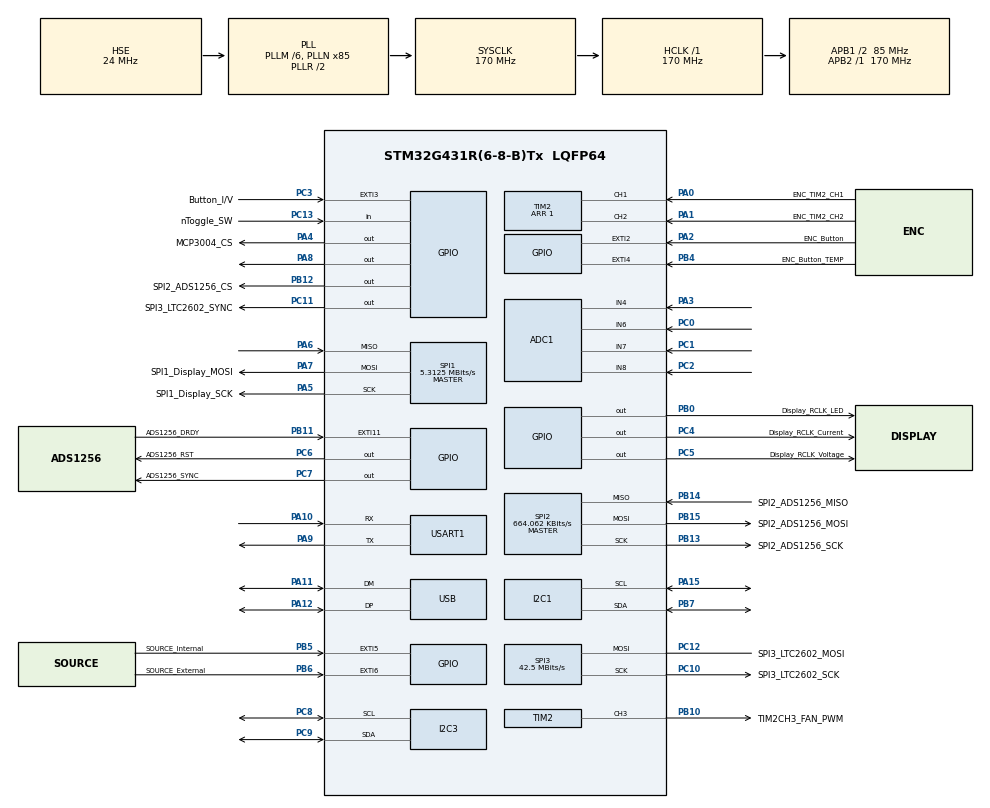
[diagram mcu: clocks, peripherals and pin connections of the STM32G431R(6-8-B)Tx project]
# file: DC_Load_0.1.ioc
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ADC1.Channel-9\#ChannelRegularConversion=ADC_CHANNEL_4
ADC1.NbrOfConversionFlag=1
ADC1.OffsetNumber-9\#ChannelRegularConversion=ADC_OFFSET_NONE
ADC1.Rank-9\#ChannelRegularConversion=1
ADC1.SamplingTime-9\#ChannelRegularConversion=ADC_SAMPLETIME_2CYCLES_5
ADC1.master=1
I2C1.Timing=0x10E1A6F2
I2C3.Timing=0x10E1A6F2
Mcu.Family=STM32G4
Mcu.Name=STM32G431R(6-8-B)Tx
Mcu.Package=LQFP64
NVIC.EXTI3_IRQn=true\:0\:0\:false\:false\:true\:true\:true\:true
NVIC.PriorityGroup=NVIC_PRIORITYGROUP_4
NVIC.TIM1_TRG_COM_TIM17_IRQn=true\:0\:0\:false\:false\:true\:true\:true\:true
NVIC.TIM2_IRQn=true\:0\:0\:false\:false\:true\:true\:true\:true
NVIC.TIM6_DAC_IRQn=true\:0\:0\:false\:false\:true\:true\:true\:true
NVIC.TIM7_IRQn=true\:0\:0\:false\:false\:true\:true\:true\:true
PA0.GPIO_Label=ENC_TIM2_CH1
PA0.Signal=S_TIM2_CH1
PA1.GPIO_Label=ENC_TIM2_CH2
PA1.Signal=S_TIM2_CH2
PA10.Mode=Asynchronous
PA10.Signal=USART1_RX
PA11.Mode=Device
PA11.Signal=USB_DM
PA12.Mode=Device
PA12.Signal=USB_DP
PA13.Mode=Serial_Wire
PA13.Signal=SYS_JTMS-SWDIO
PA14.Mode=Serial_Wire
PA14.Signal=SYS_JTCK-SWCLK
PA15.Mode=I2C
PA15.Signal=I2C1_SCL
PA2.GPIO_Label=ENC_Button
PA2.Signal=GPXTI2
PA3.Mode=IN4-Single-Ended
PA3.Signal=ADC1_IN4
PA4.GPIO_Label=MCP3004_CS
PA4.Signal=GPIO_Output
PA5.GPIO_Label=SPI1_Display_SCK
PA5.Mode=Full_Duplex_Master
PA5.Signal=SPI1_SCK
PA6.Mode=Full_Duplex_Master
PA6.Signal=SPI1_MISO
PA7.GPIO_Label=SPI1_Display_MOSI
PA7.Mode=Full_Duplex_Master
PA7.Signal=SPI1_MOSI
PA8.Signal=GPIO_Output
PA9.Mode=Asynchronous
PA9.Signal=USART1_TX
PB0.GPIO_Label=Display_RCLK_LED
PB0.Signal=GPIO_Output
PB10.GPIO_Label=TIM2CH3_FAN_PWM
PB10.Signal=S_TIM2_CH3
PB11.GPIO_Label=ADS1256_DRDY
PB11.Signal=GPXTI11
PB12.GPIO_Label=SPI2_ADS1256_CS
PB12.PinState=GPIO_PIN_SET
PB12.Signal=GPIO_Output
PB13.GPIO_Label=SPI2_ADS1256_SCK
PB13.Mode=Full_Duplex_Master
PB13.Signal=SPI2_SCK
PB14.GPIO_Label=SPI2_ADS1256_MISO
PB14.Mode=Full_Duplex_Master
PB14.Signal=SPI2_MISO
PB15.GPIO_Label=SPI2_ADS1256_MOSI
PB15.Mode=Full_Duplex_Master
PB15.Signal=SPI2_MOSI
PB4.GPIO_Label=ENC_Button_TEMP
PB4.Signal=GPXTI4
PB5.GPIO_Label=SOURCE_Internal
PB5.Signal=GPXTI5
PB6.GPIO_Label=SOURCE_External
PB6.Signal=GPXTI6
PB7.Mode=I2C
PB7.Signal=I2C1_SDA
PC0.Mode=IN6-Single-Ended
PC0.Signal=ADC1_IN6
PC1.Mode=IN7-Single-Ended
PC1.Signal=ADC1_IN7
PC10.GPIO_Label=SPI3_LTC2602_SCK
PC10.Mode=Simplex_Bidirectional_Master
PC10.Signal=SPI3_SCK
PC11.GPIO_Label=SPI3_LTC2602_SYNC
PC11.Signal=GPIO_Output
PC12.GPIO_Label=SPI3_LTC2602_MOSI
PC12.Mode=Simplex_Bidirectional_Master
PC12.Signal=SPI3_MOSI
PC13.GPIO_Label=nToggle_SW
PC13.Signal=GPIO_Input
PC14-OSC32_IN.Mode=LSE-External-Oscillator
PC14-OSC32_IN.Signal=RCC_OSC32_IN
PC15-OSC32_OUT.Mode=LSE-External-Oscillator
PC15-OSC32_OUT.Signal=RCC_OSC32_OUT
PC2.Mode=IN8-Single-Ended
PC2.Signal=ADC1_IN8
PC3.GPIO_Label=Button_I/V
PC3.Signal=GPXTI3
PC4.GPIO_Label=Display_RCLK_Current
PC4.Signal=GPIO_Output
PC5.GPIO_Label=Display_RCLK_Voltage
PC5.Signal=GPIO_Output
PC6.GPIO_Label=ADS1256_RST
PC6.Signal=GPIO_Output
PC7.GPIO_Label=ADS1256_SYNC
PC7.PinState=GPIO_PIN_SET
PC7.Signal=GPIO_Output
PC8.Mode=I2C
PC8.Signal=I2C3_SCL
PC9.Mode=I2C
PC9.Signal=I2C3_SDA
PF0-OSC_IN.Mode=HSE-External-Oscillator
PF0-OSC_IN.Signal=RCC_OSC_IN
PF1-OSC_OUT.Mode=HSE-External-Oscillator
PF1-OSC_OUT.Signal=RCC_OSC_OUT
ProjectManager.HeapSize=0x200
ProjectManager.StackSize=0x400
ProjectManager.TargetToolchain=CMake
RCC.ADC12Freq_Value=170000000
RCC.AHBFreq_Value=170000000
RCC.APB1CLKDivider=RCC_HCLK_DIV2
RCC.APB1Freq_Value=85000000
RCC.APB1TimFreq_Value=170000000
RCC.APB2Freq_Value=170000000
RCC.APB2TimFreq_Value=170000000
RCC.CK48CLockSelection=RCC_USBCLKSOURCE_HSI48
RCC.CortexFreq_Value=170000000
RCC.EXTERNAL_CLOCK_VALUE=12288000
RCC.HCLKFreq_Value=170000000
RCC.HSE_VALUE=24000000
RCC.HSI48_VALUE=48000000
RCC.HSI_VALUE=16000000
RCC.PLLM=RCC_PLLM_DIV6
RCC.PLLN=85
RCC.PLLSourceVirtual=RCC_PLLSOURCE_HSE
RCC.SYSCLKFreq_VALUE=170000000
RCC.SYSCLKSource=RCC_SYSCLKSOURCE_PLLCLK
RCC.USBFreq_Value=48000000
RCC.VCOOutputFreq_Value=340000000
SH.S_TIM2_CH1.0=TIM2_CH1,Encoder_Interface
SH.S_TIM2_CH2.0=TIM2_CH2,Encoder_Interface
SH.S_TIM2_CH3.0=TIM2_CH3,PWM Generation3 CH3
SPI1.BaudRatePrescaler=SPI_BAUDRATEPRESCALER_32
SPI1.CalculateBaudRate=5.3125 MBits/s
SPI1.DataSize=SPI_DATASIZE_8BIT
SPI1.Direction=SPI_DIRECTION_2LINES
SPI1.FirstBit=SPI_FIRSTBIT_LSB
SPI1.Mode=SPI_MODE_MASTER
SPI1.VirtualType=VM_MASTER
SPI2.BaudRatePrescaler=SPI_BAUDRATEPRESCALER_128
SPI2.CLKPhase=SPI_PHASE_2EDGE
SPI2.CalculateBaudRate=664.062 KBits/s
SPI2.DataSize=SPI_DATASIZE_8BIT
SPI2.Direction=SPI_DIRECTION_2LINES
SPI2.Mode=SPI_MODE_MASTER
SPI2.VirtualType=VM_MASTER
SPI3.BaudRatePrescaler=SPI_BAUDRATEPRESCALER_2
SPI3.CalculateBaudRate=42.5 MBits/s
SPI3.Direction=SPI_DIRECTION_1LINE
SPI3.Mode=SPI_MODE_MASTER
SPI3.VirtualType=VM_MASTER
TIM16.PeriodNoDither=30000
TIM16.Prescaler=1700-1
TIM17.PeriodNoDither=1000
TIM17.Prescaler=170-1
TIM2.AutoReloadPreload=TIM_AUTORELOAD_PRELOAD_ENABLE
TIM2.Channel-PWM\ Generation3\ CH3=TIM_CHANNEL_3
TIM2.EncoderMode=TIM_ENCODERMODE_TI2
TIM2.IC1Filter=15
TIM2.IC2Filter=15
TIM2.PeriodNoDither=1
TIM6.PeriodNoDither=1000
TIM6.Prescaler=17000-1
TIM7.AutoReloadPreload=TIM_AUTORELOAD_PRELOAD_DISABLE
TIM7.PeriodNoDither=10000
TIM7.Prescaler=17000-1
USART1.VirtualMode-Asynchronous=VM_ASYNC
VP_SYS_VS_DBSignals.Mode=DisableDeadBatterySignals
VP_TIM16_VS_ClockSourceINT.Mode=Enable_Timer
VP_TIM17_VS_ClockSourceINT.Mode=Enable_Timer
VP_TIM6_VS_ClockSourceINT.Mode=Enable_Timer
VP_TIM7_VS_ClockSourceINT.Mode=Enable_Timer
board=custom

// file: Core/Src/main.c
/* USER CODE BEGIN Header */

/*
Timers:
  TIM17: Triggers the interrupt to refresh the display (On SPI1)
*/

/*
Development Notes:
  The button for the encoder is temporary
  Button known as "Button_I/V" in documentation will be used for edit enable / disable. A seperate button for switching between CC/CV will be added
*/

/**
  ******************************************************************************
  * @file           : main.c
  * @brief          : Main program body
  ******************************************************************************
  * @attention
  *
  * Copyright (c) 2026 STMicroelectronics.
  * All rights reserved.
  *
  * This software is licensed under terms that can be found in the LICENSE file
  * in the root directory of this software component.
  * If no LICENSE file comes with this software, it is provided AS-IS.
  *
  ******************************************************************************
  */
/* USER CODE END Header */
#include "main.h"

/* USER CODE BEGIN Includes */

#include "ADS1256.h"
#include "encoder.h"
#include "indicatorLEDs.h"
#include "7segmentDisplay_4D.h"
#include "stm32g4xx_hal_def.h"
#include "stm32g4xx_hal_gpio.h"
#include "stm32g4xx_hal_tim.h"
#include "stm32g4xx_hal_uart.h"
#include <stdio.h>

/* USER CODE END Includes */

ADC_HandleTypeDef hadc1;

I2C_HandleTypeDef hi2c1;
I2C_HandleTypeDef hi2c3;

SPI_HandleTypeDef hspi1;
SPI_HandleTypeDef hspi2;
SPI_HandleTypeDef hspi3;

TIM_HandleTypeDef htim2;
TIM_HandleTypeDef htim6;
TIM_HandleTypeDef htim7;
TIM_HandleTypeDef htim16;
TIM_HandleTypeDef htim17;

UART_HandleTypeDef huart1;

PCD_HandleTypeDef hpcd_USB_FS;

void SystemClock_Config(void);
static void MX_GPIO_Init(void);
static void MX_ADC1_Init(void);
static void MX_I2C1_Init(void);
static void MX_SPI1_Init(void);
static void MX_SPI2_Init(void);
static void MX_SPI3_Init(void);
static void MX_TIM2_Init(void);
static void MX_TIM16_Init(void);
static void MX_TIM17_Init(void);
static void MX_USART1_UART_Init(void);
static void MX_USB_PCD_Init(void);
static void MX_I2C3_Init(void);
static void MX_TIM7_Init(void);
static void MX_TIM6_Init(void);
/* USER CODE BEGIN PFP */

void flagHandler(void);
void reportStates(void);
void transmitFloat(float num);

/* USER CODE END PFP */

/* USER CODE BEGIN 0 */

/*
MACROS
*/

#define SSD_CURRENT_DISPLAY 0x00
#define SSD_VOLTAGE_DISPLAY 0x01

sevenSegmentDisplay SSDcurrent;
sevenSegmentDisplay SSDvoltage;
IndicatorLED indicator_leds;
encoder rotaryEncoder;
ADS1256 ADS;

/*
Flags
*/

volatile uint8_t SSD_Current_numberWrittenFlag; //to verify when the entire number has been written to the 7 seg display, passed into function and updated when the entire display has been written
volatile uint8_t SSD_Current_screenUpdateFlag; //to verify when the screen needs to be updated with a new number

volatile uint8_t indicator_led_updateFlag;

volatile uint8_t encoder_flag; //for when encoder is rotated, triggered by TIM2 ARR interrupt, for encoder lib
volatile uint8_t encoder_button_flag; //for when encoder button is pressed, triggered by EXTI interrupt

volatile uint8_t encoder_rotated; //flag for software to check encoder has been rotated

volatile uint8_t mode_button_pressed_flag; // seen as button i/v on schematic

uint8_t reportStatesFlag; //controlled by TIM7 to report states every second to PC via UART

volatile uint8_t pcTXflag; // flag to transmit data to pc via UART (from TIM6)

//THE BUTON I/V is temporarily being used for the edit mode button for testing. :(

uint8_t editMode; // 0x00 - No edit | 0x01 - Edit whicever mode is selected (CC or CV), press to engage, press to cycle digits
#define EDIT_MODE_EN 0x01
#define EDIT_MODE_DIS 0x00

uint8_t loadMode; //set the mode of the load (cc or cv), defaults to 0x00 (CC)
#define MODE_CV 0xFF
#define MODE_CC 0x00

/*
Variables
*/

//system information variables

uint8_t maxCurrent = 10; //max current in amps, protections trigger once this is exceded
uint8_t maxVoltage = 60; //max voltage in volts, protections trigger once this is exceded
uint8_t softwareVersion = 1; //software version

//global variables

uint16_t SSD_Current_value_int = 1234; //may remove the requirement for int value
uint16_t SSD_Voltage_value_int = 1234;

uint8_t displayTracker = 0; //to track which display is being updated, to allow alternating the multiplexing between current and voltage
uint8_t editModeTimeoutCNT; //counter for the timeout of edit mode

float currentReading;
float voltageReading;

//int values not needed, just there to satisfy init fucntion
uint16_t commandedCurrent; //user set value for the current, when in CC mode
uint16_t commandedVoltage; //user set value for the voltage, when in CV mode

float floatCommandedCurrent; //user set value for the current, when in CC mode
float floatCommandedVoltage; //user set value for the voltage, when in CV mode

uint8_t statusRegister; //to store the status of the device

uint8_t unitOfAdjustment; //to store the unit of adjustment for the encoder, e.g. 1mA, 10mA, 100mA, 1A e.c.t.

/*
MACROS
*/

#define UNIT_ADJUSTMENT_1mA 0x00 //defaults to 1mA then you can't accidentally adjust by loads
#define UNIT_ADJUSTMENT_10mA 0x01
#define UNIT_ADJUSTMENT_100mA 0x02
#define UNIT_ADJUSTMENT_1A 0x03

/* USER CODE END 0 */

int main(void)
{

  /* MCU Configuration--------------------------------------------------------*/

  /* Reset of all peripherals, Initializes the Flash interface and the Systick. */
  HAL_Init();

  /* USER CODE BEGIN Init */

  SSD_Init(&SSDcurrent, &hspi1, GPIOC, GPIO_PIN_4, &SSD_Current_value_int, &floatCommandedCurrent, 3);
  SSD_Init(&SSDvoltage, &hspi1, GPIOC, GPIO_PIN_5, &SSD_Voltage_value_int, &floatCommandedVoltage, 3);
  encoderInit(&rotaryEncoder, &htim2, ENC_Button_TEMP_GPIO_Port, ENC_Button_TEMP_Pin, &huart1);
  indicatorLEDinit(&indicator_leds, &hspi1, GPIOB, GPIO_PIN_0, &indicator_led_updateFlag);
  ADS1256_Init(&ADS, &hspi2, SPI2_ADS1256_CS_GPIO_Port, SPI2_ADS1256_CS_Pin, ADS1256_DRDY_GPIO_Port, ADS1256_DRDY_Pin, ADS1256_RST_GPIO_Port, ADS1256_RST_Pin, ADS1256_SYNC_GPIO_Port, ADS1256_SYNC_Pin);
  /* USER CODE END Init */

  /* Configure the system clock */
  SystemClock_Config();

  /* Initialize all configured peripherals */
  MX_GPIO_Init();
  MX_ADC1_Init();
  MX_I2C1_Init();
  MX_SPI1_Init();
  MX_SPI2_Init();
  MX_SPI3_Init();
  MX_TIM2_Init();
  MX_TIM16_Init();
  MX_TIM17_Init();
  MX_USART1_UART_Init();
  MX_USB_PCD_Init();
  MX_I2C3_Init();
  MX_TIM7_Init();
  MX_TIM6_Init();
  /* USER CODE BEGIN 2 */

  char uartMSG[] = "DC Load Starting\r\n";
  HAL_UART_Transmit(&huart1, (uint8_t*)uartMSG, sizeof(uartMSG), HAL_MAX_DELAY);

  HAL_TIM_Base_Start_IT(&htim17); //start display refresh timer, interrupt enabled
  HAL_TIM_Encoder_Start(&htim2, TIM_CHANNEL_ALL); //start encoder timer
  //HAL_TIM_Base_Start_IT(&htim7); //timer for auto-exiting edit mode (CLK = 170M, PSC = 17000-1 = CLK 1Khz)
 __HAL_TIM_ENABLE_IT(&htim2, TIM_IT_UPDATE); //enable interrupt on ARR overflow for encoder
 HAL_TIM_Base_Start_IT(&htim6); //for PC UART TX
  /* USER CODE END 2 */

  /* Infinite loop */
  /* USER CODE BEGIN WHILE */
  currentReading = 16.87; // TEST VALUE DELETE THIS LATER -------
  voltageReading = 5.23; // TEST VALUE DELETE THIS LATER -------

  indicatorLEDtest(&indicator_leds);

  ADS1256_RegisterDump(&ADS);

  //testing

  while (1)
  {
    /* USER CODE END WHILE */

    /* USER CODE BEGIN 3 */

    flagHandler();

  }
  /* USER CODE END 3 */
}

void SystemClock_Config(void)
{
  RCC_OscInitTypeDef RCC_OscInitStruct = {0};
  RCC_ClkInitTypeDef RCC_ClkInitStruct = {0};

  /** Configure the main internal regulator output voltage
  */
  HAL_PWREx_ControlVoltageScaling(PWR_REGULATOR_VOLTAGE_SCALE1_BOOST);

  /** Initializes the RCC Oscillators according to the specified parameters
  * in the RCC_OscInitTypeDef structure.
  */
  RCC_OscInitStruct.OscillatorType = RCC_OSCILLATORTYPE_HSI48|RCC_OSCILLATORTYPE_HSE;
  RCC_OscInitStruct.HSEState = RCC_HSE_ON;
  RCC_OscInitStruct.HSI48State = RCC_HSI48_ON;
  RCC_OscInitStruct.PLL.PLLState = RCC_PLL_ON;
  RCC_OscInitStruct.PLL.PLLSource = RCC_PLLSOURCE_HSE;
  RCC_OscInitStruct.PLL.PLLM = RCC_PLLM_DIV6;
  RCC_OscInitStruct.PLL.PLLN = 85;
  RCC_OscInitStruct.PLL.PLLP = RCC_PLLP_DIV2;
  RCC_OscInitStruct.PLL.PLLQ = RCC_PLLQ_DIV2;
  RCC_OscInitStruct.PLL.PLLR = RCC_PLLR_DIV2;
  if (HAL_RCC_OscConfig(&RCC_OscInitStruct) != HAL_OK)
  {
    Error_Handler();
  }

  /** Initializes the CPU, AHB and APB buses clocks
  */
  RCC_ClkInitStruct.ClockType = RCC_CLOCKTYPE_HCLK|RCC_CLOCKTYPE_SYSCLK
                              |RCC_CLOCKTYPE_PCLK1|RCC_CLOCKTYPE_PCLK2;
  RCC_ClkInitStruct.SYSCLKSource = RCC_SYSCLKSOURCE_PLLCLK;
  RCC_ClkInitStruct.AHBCLKDivider = RCC_SYSCLK_DIV1;
  RCC_ClkInitStruct.APB1CLKDivider = RCC_HCLK_DIV2;
  RCC_ClkInitStruct.APB2CLKDivider = RCC_HCLK_DIV1;

  if (HAL_RCC_ClockConfig(&RCC_ClkInitStruct, FLASH_LATENCY_4) != HAL_OK)
  {
    Error_Handler();
  }
}

static void MX_ADC1_Init(void)
{

  ADC_MultiModeTypeDef multimode = {0};
  ADC_ChannelConfTypeDef sConfig = {0};

  /** Common config
  */
  hadc1.Instance = ADC1;
  hadc1.Init.ClockPrescaler = ADC_CLOCK_SYNC_PCLK_DIV4;
  hadc1.Init.Resolution = ADC_RESOLUTION_12B;
  hadc1.Init.DataAlign = ADC_DATAALIGN_RIGHT;
  hadc1.Init.GainCompensation = 0;
  hadc1.Init.ScanConvMode = ADC_SCAN_DISABLE;
  hadc1.Init.EOCSelection = ADC_EOC_SINGLE_CONV;
  hadc1.Init.LowPowerAutoWait = DISABLE;
  hadc1.Init.ContinuousConvMode = DISABLE;
  hadc1.Init.NbrOfConversion = 1;
  hadc1.Init.DiscontinuousConvMode = DISABLE;
  hadc1.Init.ExternalTrigConv = ADC_SOFTWARE_START;
  hadc1.Init.ExternalTrigConvEdge = ADC_EXTERNALTRIGCONVEDGE_NONE;
  hadc1.Init.DMAContinuousRequests = DISABLE;
  hadc1.Init.Overrun = ADC_OVR_DATA_PRESERVED;
  hadc1.Init.OversamplingMode = DISABLE;
  if (HAL_ADC_Init(&hadc1) != HAL_OK)
  {
    Error_Handler();
  }

  /** Configure the ADC multi-mode
  */
  multimode.Mode = ADC_MODE_INDEPENDENT;
  if (HAL_ADCEx_MultiModeConfigChannel(&hadc1, &multimode) != HAL_OK)
  {
    Error_Handler();
  }

  /** Configure Regular Channel
  */
  sConfig.Channel = ADC_CHANNEL_4;
  sConfig.Rank = ADC_REGULAR_RANK_1;
  sConfig.SamplingTime = ADC_SAMPLETIME_2CYCLES_5;
  sConfig.SingleDiff = ADC_SINGLE_ENDED;
  sConfig.OffsetNumber = ADC_OFFSET_NONE;
  sConfig.Offset = 0;
  if (HAL_ADC_ConfigChannel(&hadc1, &sConfig) != HAL_OK)
  {
    Error_Handler();
  }

}

static void MX_I2C1_Init(void)
{

  hi2c1.Instance = I2C1;
  hi2c1.Init.Timing = 0x10E1A6F2;
  hi2c1.Init.OwnAddress1 = 0;
  hi2c1.Init.AddressingMode = I2C_ADDRESSINGMODE_7BIT;
  hi2c1.Init.DualAddressMode = I2C_DUALADDRESS_DISABLE;
  hi2c1.Init.OwnAddress2 = 0;
  hi2c1.Init.OwnAddress2Masks = I2C_OA2_NOMASK;
  hi2c1.Init.GeneralCallMode = I2C_GENERALCALL_DISABLE;
  hi2c1.Init.NoStretchMode = I2C_NOSTRETCH_DISABLE;
  if (HAL_I2C_Init(&hi2c1) != HAL_OK)
  {
    Error_Handler();
  }

  /** Configure Analogue filter
  */
  if (HAL_I2CEx_ConfigAnalogFilter(&hi2c1, I2C_ANALOGFILTER_ENABLE) != HAL_OK)
  {
    Error_Handler();
  }

  /** Configure Digital filter
  */
  if (HAL_I2CEx_ConfigDigitalFilter(&hi2c1, 0) != HAL_OK)
  {
    Error_Handler();
  }

}

static void MX_I2C3_Init(void)
{

  hi2c3.Instance = I2C3;
  hi2c3.Init.Timing = 0x10E1A6F2;
  hi2c3.Init.OwnAddress1 = 0;
  hi2c3.Init.AddressingMode = I2C_ADDRESSINGMODE_7BIT;
  hi2c3.Init.DualAddressMode = I2C_DUALADDRESS_DISABLE;
  hi2c3.Init.OwnAddress2 = 0;
  hi2c3.Init.OwnAddress2Masks = I2C_OA2_NOMASK;
  hi2c3.Init.GeneralCallMode = I2C_GENERALCALL_DISABLE;
  hi2c3.Init.NoStretchMode = I2C_NOSTRETCH_DISABLE;
  if (HAL_I2C_Init(&hi2c3) != HAL_OK)
  {
    Error_Handler();
  }

  /** Configure Analogue filter
  */
  if (HAL_I2CEx_ConfigAnalogFilter(&hi2c3, I2C_ANALOGFILTER_ENABLE) != HAL_OK)
  {
    Error_Handler();
  }

  /** Configure Digital filter
  */
  if (HAL_I2CEx_ConfigDigitalFilter(&hi2c3, 0) != HAL_OK)
  {
    Error_Handler();
  }

}

static void MX_SPI1_Init(void)
{

  /* SPI1 parameter configuration*/
  hspi1.Instance = SPI1;
  hspi1.Init.Mode = SPI_MODE_MASTER;
  hspi1.Init.Direction = SPI_DIRECTION_2LINES;
  hspi1.Init.DataSize = SPI_DATASIZE_8BIT;
  hspi1.Init.CLKPolarity = SPI_POLARITY_LOW;
  hspi1.Init.CLKPhase = SPI_PHASE_1EDGE;
  hspi1.Init.NSS = SPI_NSS_SOFT;
  hspi1.Init.BaudRatePrescaler = SPI_BAUDRATEPRESCALER_32;
  hspi1.Init.FirstBit = SPI_FIRSTBIT_LSB;
  hspi1.Init.TIMode = SPI_TIMODE_DISABLE;
  hspi1.Init.CRCCalculation = SPI_CRCCALCULATION_DISABLE;
  hspi1.Init.CRCPolynomial = 7;
  hspi1.Init.CRCLength = SPI_CRC_LENGTH_DATASIZE;
  hspi1.Init.NSSPMode = SPI_NSS_PULSE_ENABLE;
  if (HAL_SPI_Init(&hspi1) != HAL_OK)
  {
    Error_Handler();
  }

}

static void MX_SPI2_Init(void)
{

  /* SPI2 parameter configuration*/
  hspi2.Instance = SPI2;
  hspi2.Init.Mode = SPI_MODE_MASTER;
  hspi2.Init.Direction = SPI_DIRECTION_2LINES;
  hspi2.Init.DataSize = SPI_DATASIZE_8BIT;
  hspi2.Init.CLKPolarity = SPI_POLARITY_LOW;
  hspi2.Init.CLKPhase = SPI_PHASE_2EDGE;
  hspi2.Init.NSS = SPI_NSS_SOFT;
  hspi2.Init.BaudRatePrescaler = SPI_BAUDRATEPRESCALER_128;
  hspi2.Init.FirstBit = SPI_FIRSTBIT_MSB;
  hspi2.Init.TIMode = SPI_TIMODE_DISABLE;
  hspi2.Init.CRCCalculation = SPI_CRCCALCULATION_DISABLE;
  hspi2.Init.CRCPolynomial = 7;
  hspi2.Init.CRCLength = SPI_CRC_LENGTH_DATASIZE;
  hspi2.Init.NSSPMode = SPI_NSS_PULSE_DISABLE;
  if (HAL_SPI_Init(&hspi2) != HAL_OK)
  {
    Error_Handler();
  }

}

static void MX_SPI3_Init(void)
{

  /* SPI3 parameter configuration*/
  hspi3.Instance = SPI3;
  hspi3.Init.Mode = SPI_MODE_MASTER;
  hspi3.Init.Direction = SPI_DIRECTION_1LINE;
  hspi3.Init.DataSize = SPI_DATASIZE_4BIT;
  hspi3.Init.CLKPolarity = SPI_POLARITY_LOW;
  hspi3.Init.CLKPhase = SPI_PHASE_1EDGE;
  hspi3.Init.NSS = SPI_NSS_SOFT;
  hspi3.Init.BaudRatePrescaler = SPI_BAUDRATEPRESCALER_2;
  hspi3.Init.FirstBit = SPI_FIRSTBIT_MSB;
  hspi3.Init.TIMode = SPI_TIMODE_DISABLE;
  hspi3.Init.CRCCalculation = SPI_CRCCALCULATION_DISABLE;
  hspi3.Init.CRCPolynomial = 7;
  hspi3.Init.CRCLength = SPI_CRC_LENGTH_DATASIZE;
  hspi3.Init.NSSPMode = SPI_NSS_PULSE_ENABLE;
  if (HAL_SPI_Init(&hspi3) != HAL_OK)
  {
    Error_Handler();
  }

}

static void MX_TIM2_Init(void)
{

  TIM_Encoder_InitTypeDef sConfig = {0};
  TIM_MasterConfigTypeDef sMasterConfig = {0};
  TIM_OC_InitTypeDef sConfigOC = {0};

  htim2.Instance = TIM2;
  htim2.Init.Prescaler = 0;
  htim2.Init.CounterMode = TIM_COUNTERMODE_UP;
  htim2.Init.Period = 1;
  htim2.Init.ClockDivision = TIM_CLOCKDIVISION_DIV1;
  htim2.Init.AutoReloadPreload = TIM_AUTORELOAD_PRELOAD_ENABLE;
  if (HAL_TIM_PWM_Init(&htim2) != HAL_OK)
  {
    Error_Handler();
  }
  sConfig.EncoderMode = TIM_ENCODERMODE_TI2;
  sConfig.IC1Polarity = TIM_ICPOLARITY_RISING;
  sConfig.IC1Selection = TIM_ICSELECTION_DIRECTTI;
  sConfig.IC1Prescaler = TIM_ICPSC_DIV1;
  sConfig.IC1Filter = 15;
  sConfig.IC2Polarity = TIM_ICPOLARITY_RISING;
  sConfig.IC2Selection = TIM_ICSELECTION_DIRECTTI;
  sConfig.IC2Prescaler = TIM_ICPSC_DIV1;
  sConfig.IC2Filter = 15;
  if (HAL_TIM_Encoder_Init(&htim2, &sConfig) != HAL_OK)
  {
    Error_Handler();
  }
  sMasterConfig.MasterOutputTrigger = TIM_TRGO_RESET;
  sMasterConfig.MasterSlaveMode = TIM_MASTERSLAVEMODE_DISABLE;
  if (HAL_TIMEx_MasterConfigSynchronization(&htim2, &sMasterConfig) != HAL_OK)
  {
    Error_Handler();
  }
  sConfigOC.OCMode = TIM_OCMODE_PWM1;
  sConfigOC.Pulse = 0;
  sConfigOC.OCPolarity = TIM_OCPOLARITY_HIGH;
  sConfigOC.OCFastMode = TIM_OCFAST_DISABLE;
  if (HAL_TIM_PWM_ConfigChannel(&htim2, &sConfigOC, TIM_CHANNEL_3) != HAL_OK)
  {
    Error_Handler();
  }
  HAL_TIM_MspPostInit(&htim2);

}

static void MX_TIM6_Init(void)
{

  TIM_MasterConfigTypeDef sMasterConfig = {0};

  htim6.Instance = TIM6;
  htim6.Init.Prescaler = 17000-1;
  htim6.Init.CounterMode = TIM_COUNTERMODE_UP;
  htim6.Init.Period = 1000;
  htim6.Init.AutoReloadPreload = TIM_AUTORELOAD_PRELOAD_DISABLE;
  if (HAL_TIM_Base_Init(&htim6) != HAL_OK)
  {
    Error_Handler();
  }
  sMasterConfig.MasterOutputTrigger = TIM_TRGO_RESET;
  sMasterConfig.MasterSlaveMode = TIM_MASTERSLAVEMODE_DISABLE;
  if (HAL_TIMEx_MasterConfigSynchronization(&htim6, &sMasterConfig) != HAL_OK)
  {
    Error_Handler();
  }

}

static void MX_TIM7_Init(void)
{

  TIM_MasterConfigTypeDef sMasterConfig = {0};

  htim7.Instance = TIM7;
  htim7.Init.Prescaler = 17000-1;
  htim7.Init.CounterMode = TIM_COUNTERMODE_UP;
  htim7.Init.Period = 10000;
  htim7.Init.AutoReloadPreload = TIM_AUTORELOAD_PRELOAD_DISABLE;
  if (HAL_TIM_Base_Init(&htim7) != HAL_OK)
  {
    Error_Handler();
  }
  sMasterConfig.MasterOutputTrigger = TIM_TRGO_RESET;
  sMasterConfig.MasterSlaveMode = TIM_MASTERSLAVEMODE_DISABLE;
  if (HAL_TIMEx_MasterConfigSynchronization(&htim7, &sMasterConfig) != HAL_OK)
  {
    Error_Handler();
  }

}

static void MX_TIM16_Init(void)
{

  htim16.Instance = TIM16;
  htim16.Init.Prescaler = 1700-1;
  htim16.Init.CounterMode = TIM_COUNTERMODE_UP;
  htim16.Init.Period = 30000;
  htim16.Init.ClockDivision = TIM_CLOCKDIVISION_DIV1;
  htim16.Init.RepetitionCounter = 0;
  htim16.Init.AutoReloadPreload = TIM_AUTORELOAD_PRELOAD_DISABLE;
  if (HAL_TIM_Base_Init(&htim16) != HAL_OK)
  {
    Error_Handler();
  }

}

static void MX_TIM17_Init(void)
{

  htim17.Instance = TIM17;
  htim17.Init.Prescaler = 170-1;
  htim17.Init.CounterMode = TIM_COUNTERMODE_UP;
  htim17.Init.Period = 1000;
  htim17.Init.ClockDivision = TIM_CLOCKDIVISION_DIV1;
  htim17.Init.RepetitionCounter = 0;
  htim17.Init.AutoReloadPreload = TIM_AUTORELOAD_PRELOAD_DISABLE;
  if (HAL_TIM_Base_Init(&htim17) != HAL_OK)
  {
    Error_Handler();
  }

}

static void MX_USART1_UART_Init(void)
{

  huart1.Instance = USART1;
  huart1.Init.BaudRate = 115200;
  huart1.Init.WordLength = UART_WORDLENGTH_8B;
  huart1.Init.StopBits = UART_STOPBITS_1;
  huart1.Init.Parity = UART_PARITY_NONE;
  huart1.Init.Mode = UART_MODE_TX_RX;
  huart1.Init.HwFlowCtl = UART_HWCONTROL_NONE;
  huart1.Init.OverSampling = UART_OVERSAMPLING_16;
  huart1.Init.OneBitSampling = UART_ONE_BIT_SAMPLE_DISABLE;
  huart1.Init.ClockPrescaler = UART_PRESCALER_DIV1;
  huart1.AdvancedInit.AdvFeatureInit = UART_ADVFEATURE_NO_INIT;
  if (HAL_UART_Init(&huart1) != HAL_OK)
  {
    Error_Handler();
  }
  if (HAL_UARTEx_SetTxFifoThreshold(&huart1, UART_TXFIFO_THRESHOLD_1_8) != HAL_OK)
  {
    Error_Handler();
  }
  if (HAL_UARTEx_SetRxFifoThreshold(&huart1, UART_RXFIFO_THRESHOLD_1_8) != HAL_OK)
  {
    Error_Handler();
  }
  if (HAL_UARTEx_DisableFifoMode(&huart1) != HAL_OK)
  {
    Error_Handler();
  }

}

static void MX_USB_PCD_Init(void)
{

  hpcd_USB_FS.Instance = USB;
  hpcd_USB_FS.Init.dev_endpoints = 8;
  hpcd_USB_FS.Init.speed = PCD_SPEED_FULL;
  hpcd_USB_FS.Init.phy_itface = PCD_PHY_EMBEDDED;
  hpcd_USB_FS.Init.Sof_enable = DISABLE;
  hpcd_USB_FS.Init.low_power_enable = DISABLE;
  hpcd_USB_FS.Init.lpm_enable = DISABLE;
  hpcd_USB_FS.Init.battery_charging_enable = DISABLE;
  if (HAL_PCD_Init(&hpcd_USB_FS) != HAL_OK)
  {
    Error_Handler();
  }

}

static void MX_GPIO_Init(void)
{
  GPIO_InitTypeDef GPIO_InitStruct = {0};

  /* GPIO Ports Clock Enable */
  __HAL_RCC_GPIOC_CLK_ENABLE();
  __HAL_RCC_GPIOF_CLK_ENABLE();
  __HAL_RCC_GPIOA_CLK_ENABLE();
  __HAL_RCC_GPIOB_CLK_ENABLE();

  /*Configure GPIO pin Output Level */
  HAL_GPIO_WritePin(GPIOA, MCP3004_CS_Pin|GPIO_PIN_8, GPIO_PIN_RESET);

  /*Configure GPIO pin Output Level */
  HAL_GPIO_WritePin(GPIOC, Display_RCLK_Current_Pin|Display_RCLK_Voltage_Pin|ADS1256_RST_Pin|SPI3_LTC2602_SYNC_Pin, GPIO_PIN_RESET);

  /*Configure GPIO pin Output Level */
  HAL_GPIO_WritePin(Display_RCLK_LED_GPIO_Port, Display_RCLK_LED_Pin, GPIO_PIN_RESET);

  /*Configure GPIO pin Output Level */
  HAL_GPIO_WritePin(SPI2_ADS1256_CS_GPIO_Port, SPI2_ADS1256_CS_Pin, GPIO_PIN_SET);

  /*Configure GPIO pin Output Level */
  HAL_GPIO_WritePin(ADS1256_SYNC_GPIO_Port, ADS1256_SYNC_Pin, GPIO_PIN_SET);

  /*Configure GPIO pin : nToggle_SW_Pin */
  GPIO_InitStruct.Pin = nToggle_SW_Pin;
  GPIO_InitStruct.Mode = GPIO_MODE_INPUT;
  GPIO_InitStruct.Pull = GPIO_NOPULL;
  HAL_GPIO_Init(nToggle_SW_GPIO_Port, &GPIO_InitStruct);

  /*Configure GPIO pin : Button_I_V_Pin */
  GPIO_InitStruct.Pin = Button_I_V_Pin;
  GPIO_InitStruct.Mode = GPIO_MODE_IT_RISING;
  GPIO_InitStruct.Pull = GPIO_NOPULL;
  HAL_GPIO_Init(Button_I_V_GPIO_Port, &GPIO_InitStruct);

  /*Configure GPIO pin : ENC_Button_Pin */
  GPIO_InitStruct.Pin = ENC_Button_Pin;
  GPIO_InitStruct.Mode = GPIO_MODE_IT_RISING;
  GPIO_InitStruct.Pull = GPIO_NOPULL;
  HAL_GPIO_Init(ENC_Button_GPIO_Port, &GPIO_InitStruct);

  /*Configure GPIO pins : MCP3004_CS_Pin PA8 */
  GPIO_InitStruct.Pin = MCP3004_CS_Pin|GPIO_PIN_8;
  GPIO_InitStruct.Mode = GPIO_MODE_OUTPUT_PP;
  GPIO_InitStruct.Pull = GPIO_NOPULL;
  GPIO_InitStruct.Speed = GPIO_SPEED_FREQ_LOW;
  HAL_GPIO_Init(GPIOA, &GPIO_InitStruct);

  /*Configure GPIO pins : Display_RCLK_Current_Pin Display_RCLK_Voltage_Pin ADS1256_RST_Pin ADS1256_SYNC_Pin
                           SPI3_LTC2602_SYNC_Pin */
  GPIO_InitStruct.Pin = Display_RCLK_Current_Pin|Display_RCLK_Voltage_Pin|ADS1256_RST_Pin|ADS1256_SYNC_Pin
                          |SPI3_LTC2602_SYNC_Pin;
  GPIO_InitStruct.Mode = GPIO_MODE_OUTPUT_PP;
  GPIO_InitStruct.Pull = GPIO_NOPULL;
  GPIO_InitStruct.Speed = GPIO_SPEED_FREQ_LOW;
  HAL_GPIO_Init(GPIOC, &GPIO_InitStruct);

  /*Configure GPIO pins : Display_RCLK_LED_Pin SPI2_ADS1256_CS_Pin */
  GPIO_InitStruct.Pin = Display_RCLK_LED_Pin|SPI2_ADS1256_CS_Pin;
  GPIO_InitStruct.Mode = GPIO_MODE_OUTPUT_PP;
  GPIO_InitStruct.Pull = GPIO_NOPULL;
  GPIO_InitStruct.Speed = GPIO_SPEED_FREQ_LOW;
  HAL_GPIO_Init(GPIOB, &GPIO_InitStruct);

  /*Configure GPIO pins : ADS1256_DRDY_Pin ENC_Button_TEMP_Pin SOURCE_Internal_Pin SOURCE_External_Pin */
  GPIO_InitStruct.Pin = ADS1256_DRDY_Pin|ENC_Button_TEMP_Pin|SOURCE_Internal_Pin|SOURCE_External_Pin;
  GPIO_InitStruct.Mode = GPIO_MODE_IT_RISING;
  GPIO_InitStruct.Pull = GPIO_NOPULL;
  HAL_GPIO_Init(GPIOB, &GPIO_InitStruct);

  /* EXTI interrupt init*/
  HAL_NVIC_SetPriority(EXTI3_IRQn, 0, 0);
  HAL_NVIC_EnableIRQ(EXTI3_IRQn);

}

/* USER CODE BEGIN 4 */

void HAL_TIM_PeriodElapsedCallback(TIM_HandleTypeDef *htim){
  if(htim->Instance == TIM17){ // check if the interrupt is from TIM17, which is for the display refresh
    SSD_Current_screenUpdateFlag = 1; // current flag starts off the process, will switch to voltage automatically after the current display has been updated
  }

  if(htim->Instance == TIM2){ //check if the interrupt is from TIM2, which is for the encoder
    encoder_flag = 1; //set flag to indicate encoder has been rotated
  }

  if(htim->Instance == TIM7){ //if interrupt is from TIM7, used for auto exit of edit mode

    reportStatesFlag = 1; //to report states to the PC every second

    uint8_t timeout = 3; // how many seconds edit mode should last
    HAL_GPIO_TogglePin(GPIOA, GPIO_PIN_8); //toggle pin for testing

    if (editModeTimeoutCNT < timeout){ //if delay timer hasnt been reached
      editModeTimeoutCNT ++; // increment counter
    }
    else if (editModeTimeoutCNT >= timeout){
      editModeTimeoutCNT = 0; // reset counter
      editMode = EDIT_MODE_DIS; // disable edit mode
      HAL_TIM_Base_Stop_IT(&htim7);
      flashDigit(&SSDcurrent, SSD_ALL, 0);
      flashDigit(&SSDvoltage, SSD_ALL, 0);

    }

  }

  if(htim->Instance == TIM6){
    pcTXflag = 1;
  }

}

void HAL_GPIO_EXTI_Callback(uint16_t GPIO_Pin){
  if(GPIO_Pin == ENC_Button_TEMP_Pin){ //check if the interrupt is from the encoder button
    encoder_button_flag = 1; //set flag to indicate encoder button has been pressed
  }

  if(GPIO_Pin == Button_I_V_Pin){ //if the edit button has been pressed
    mode_button_pressed_flag = 1; //set flag to 1
  }

}

void flagHandler(void){

  if(SSD_Current_screenUpdateFlag == 1 && displayTracker == SSD_CURRENT_DISPLAY){
    floatUpdateScreen(&SSDcurrent, &SSD_Current_numberWrittenFlag); // flag checks if the entire number has been written to the display
    SSD_Current_screenUpdateFlag = 0; // resets flag to indicate that the screen has been updated
    displayTracker = SSD_VOLTAGE_DISPLAY; //switch to voltage display for the next update
  }
  if(SSD_Current_screenUpdateFlag == 1 && displayTracker == SSD_VOLTAGE_DISPLAY){
    floatUpdateScreen(&SSDvoltage, &SSD_Current_numberWrittenFlag); // flag checks if the entire number has been written to the display
    SSD_Current_screenUpdateFlag = 0; // resets flag to indicate that the screen has been updated
    displayTracker = SSD_CURRENT_DISPLAY; //switch to current display for the next update
  }

  if(indicator_led_updateFlag == 1){
    indicatorLEDwrite(&indicator_leds);
    indicator_led_updateFlag = 0;
  }

  if(encoder_flag == 1){
    encoderTimerElapsed(&rotaryEncoder); //call function to handle encoder rotation
    encoder_flag = 0; //reset flag
    encoder_rotated = 1; //set flag to indicate encoder has been rotated
    editModeTimeoutCNT = 0; // reset the counter to keep from exiting
  }

  if(editMode == EDIT_MODE_EN){
    if(encoder_rotated == 1){ //god I hope this is self explanatory
      editModeTimeoutCNT = 0; // reset the counter to keep from exiting

      float ajd; //set variable for incrementing the desired value

      if (unitOfAdjustment == UNIT_ADJUSTMENT_1mA){
        ajd = 0.001f;
      }
      else if (unitOfAdjustment == UNIT_ADJUSTMENT_10mA){
        ajd = 0.01f;
      }
      else if (unitOfAdjustment == UNIT_ADJUSTMENT_100mA){
        ajd = 0.1f;
      }
      else if (unitOfAdjustment == UNIT_ADJUSTMENT_1A){
        ajd = 1.0f;
      }

      if(loadMode == MODE_CC){
        if(rotaryEncoder.encoder_up == 1){
          floatCommandedCurrent += ajd;
        }
        if(rotaryEncoder.encoder_down == 1){
          floatCommandedCurrent -= ajd;
        }
      }

      if(loadMode == MODE_CV){
        if(rotaryEncoder.encoder_up == 1){
          floatCommandedVoltage += ajd;
        }
        if(rotaryEncoder.encoder_down == 1){
          floatCommandedVoltage -= ajd;
        }
      }

      encoder_rotated = 0; //reset flag
    }
  }

  if(encoder_button_flag == 1){ //if the button on the rotary encoder has been pressed

    editModeTimeoutCNT = 0; // reset the counter to keep from exiting

    if (editMode == EDIT_MODE_DIS){ //enable edit mode, start the TIM7 for timeout
      editMode = EDIT_MODE_EN;
      HAL_TIM_Base_Start_IT(&htim7); // start timer 7 for the timeout of edit mode
    }

    if(editMode == EDIT_MODE_EN){
      //change unit of ajustment e.g. 1mA, 10mA, 100mA e.c.t.
      if(loadMode == MODE_CC){ //cycle through the units of adjustments, and digit flashing
        if(unitOfAdjustment == UNIT_ADJUSTMENT_1mA){
          flashDigit(&SSDcurrent, SSD_ALL, 0);
          unitOfAdjustment = UNIT_ADJUSTMENT_10mA;
          flashDigit(&SSDcurrent, SSD_D3, 1); //flash the digit that is being adjusted
        }
        else if(unitOfAdjustment == UNIT_ADJUSTMENT_10mA){
          flashDigit(&SSDcurrent, SSD_ALL, 0);
          unitOfAdjustment = UNIT_ADJUSTMENT_100mA;
          flashDigit(&SSDcurrent, SSD_D2, 1);
        }
        else if(unitOfAdjustment == UNIT_ADJUSTMENT_100mA){
          flashDigit(&SSDcurrent, SSD_ALL, 0);
          unitOfAdjustment = UNIT_ADJUSTMENT_1A;
          flashDigit(&SSDcurrent, SSD_D1, 1);
        }
        else if(unitOfAdjustment == UNIT_ADJUSTMENT_1A){
          flashDigit(&SSDcurrent, SSD_ALL, 0);
          unitOfAdjustment = UNIT_ADJUSTMENT_1mA;
          flashDigit(&SSDcurrent, SSD_D4, 1);
        }
      }

      if(loadMode == MODE_CV){ //cycle through the units of adjustments, and digit flashing
        if(unitOfAdjustment == UNIT_ADJUSTMENT_1mA){
          flashDigit(&SSDvoltage, SSD_ALL, 0);
          unitOfAdjustment = UNIT_ADJUSTMENT_10mA;
          flashDigit(&SSDvoltage, SSD_D3, 1); //flash the digit that is being adjusted
        }
        else if(unitOfAdjustment == UNIT_ADJUSTMENT_10mA){
          flashDigit(&SSDvoltage, SSD_ALL, 0);
          unitOfAdjustment = UNIT_ADJUSTMENT_100mA;
          flashDigit(&SSDvoltage, SSD_D2, 1);
        }
        else if(unitOfAdjustment == UNIT_ADJUSTMENT_100mA){
          flashDigit(&SSDvoltage, SSD_ALL, 0);
          unitOfAdjustment = UNIT_ADJUSTMENT_1A;
          flashDigit(&SSDvoltage, SSD_D1, 1);
        }
        else if(unitOfAdjustment == UNIT_ADJUSTMENT_1A){
          flashDigit(&SSDvoltage, SSD_ALL, 0);
          unitOfAdjustment = UNIT_ADJUSTMENT_1mA;
          flashDigit(&SSDvoltage, SSD_D4, 1);
        }
      }
    }

    encoder_button_flag = 0; //reset flag
  }

  if(mode_button_pressed_flag == 1){ //if the button has been pressed

    //if the load is in CC, switch to CV and vice versa and toggle LED's
    if (loadMode == MODE_CC){
      loadMode = MODE_CV;
      indicatorLEDon(&indicator_leds, IND_LED_CV);
      indicatorLEDoff(&indicator_leds, IND_LED_CC);
      editModeTimeoutCNT = 3; //force timeout to allow digits to switch
    }
    else if (loadMode == MODE_CV){
      loadMode = MODE_CC;
      indicatorLEDon(&indicator_leds, IND_LED_CC);
      indicatorLEDoff(&indicator_leds, IND_LED_CV);
      editModeTimeoutCNT = 3;
    }

    mode_button_pressed_flag = 0; // reset the flag
  }

  if(reportStatesFlag == 1){

    reportStates();

    reportStatesFlag = 0;
  }

  if(pcTXflag == 1){

    float voltage = ADS1256_ConvertRawData(&ADS, ADS1256_ReadData(&ADS));

    transmitFloat(voltage);

    pcTXflag = 0;
  }

}

void reportStates(void){ //for reporting the status of the machine via UART to a connected PC

  uint8_t CR = '\r';
  uint8_t dat = 0b01011100;
  HAL_UART_Transmit(&huart1, &dat, 1, HAL_MAX_DELAY);
  uint8_t dat16[2] = {2,3};
  HAL_UART_Transmit(&huart1, dat16, 2, HAL_MAX_DELAY);
  HAL_UART_Transmit(&huart1, dat16, 2, HAL_MAX_DELAY);

  HAL_UART_Transmit(&huart1, &CR, 1, HAL_MAX_DELAY);

}

void transmitFloat(float num){
  int32_t numint;
  int32_t numfractional;

  float absolute = (num < 0.0f) ? -num : num;
  numint = (int32_t)num;
  numfractional = (int32_t)((absolute - (int32_t)absolute) * 1000000.0f);

  char txbuff[32];

  int len = snprintf(txbuff, sizeof(txbuff), "%s%ld.%06ld\r\n", (num < 0.0f && numint == 0) ? "-" : "", (long)numint, (long)numfractional);

  HAL_UART_Transmit(&huart1, (uint8_t*)txbuff, len, HAL_MAX_DELAY);

}
/* USER CODE END 4 */

void Error_Handler(void)
{
  /* USER CODE BEGIN Error_Handler_Debug */

  /* User can add his own implementation to report the HAL error return state */

  indicatorLEDon(&indicator_leds, IND_LED_ERROR); // Turn error LED on
  indicatorLEDwrite(&indicator_leds);

  __disable_irq();
  while (1)
  {

  }
  /* USER CODE END Error_Handler_Debug */
}
